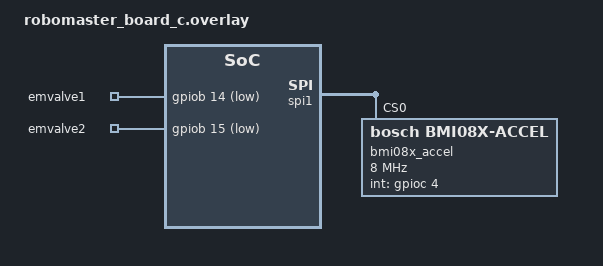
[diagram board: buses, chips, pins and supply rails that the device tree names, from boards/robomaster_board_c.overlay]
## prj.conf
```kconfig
# 启用线程分析器
CONFIG_THREAD_ANALYZER=y
CONFIG_THREAD_ANALYZER_USE_LOG=y
CONFIG_THREAD_ANALYZER_USE_PRINTK=n
CONFIG_THREAD_NAME=y
# CONFIG_THREAD_ANALYZER_AUTO=y
# CONFIG_THREAD_ANALYZER_AUTO_INTERVAL=5
CONFIG_THREAD_ANALYZER_LOG_LEVEL_INF=y
CONFIG_THREAD_ANALYZER_AUTO_SEPARATE_CORES=n

# 启用事件支持
CONFIG_EVENTS=y

# 禁用优化
CONFIG_NO_OPTIMIZATIONS=y
# CONFIG_COMPILER_OPT="-O3 -fno-strict-overflow -fno-common -ffunction-sections -fdata-sections -ffreestanding -fno-builtin"

# 启用驱动
CONFIG_MOTOR=y
CONFIG_MOTOR_COMMON=y
CONFIG_MOTOR_DJI=y
CONFIG_MOTOR_DM=y
CONFIG_MOTOR_LOG_LEVEL=4
CONFIG_CAN=y
CONFIG_MOTOR_INIT_PRIORITY=90

CONFIG_ARES=y
CONFIG_ARES_SBUS=y
CONFIG_EKF_LIB=y

CONFIG_AUTO_PROBE_GYRO_BIAS=y

CONFIG_CMSIS_DSP=y
CONFIG_CMSIS_DSP_MATRIX=y
CONFIG_CMSIS_DSP_CONTROLLER=y
CONFIG_CMSIS_DSP_FASTMATH=y

CONFIG_PLOTTER_FREQ=800
CONFIG_PLOTTER=y

#
# accel
#
CONFIG_SENSOR=y
CONFIG_BMI08X=y
CONFIG_BMI08X_ACCEL_TRIGGER_GLOBAL_THREAD=y
CONFIG_BMI08X_I2C_WRITE_BURST_SIZE=16
```

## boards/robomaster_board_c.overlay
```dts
/ {
	dm_motor {
		motor1: motor1 {
			compatible = "dji,motor";
			id = <1>;
			rx_id = <0x301>;
			tx_id = <0x3FE>;
			gear_ratio = "1.0";
			status = "okay";
			can_channel = <&can1>;
			controllers = <&jump_speed_pid>;
			capabilities = "speed";
			is_dm_motor;
			dm_i_max = "100";
			dm_torque_ratio = "-0.061538";
			follow = <&motor6>;
		};
		// motor2: motor2 {
		// 	compatible = "dji,motor";
		// 	id = <2>;
		// 	rx_id = <0x302>;
		// 	tx_id = <0x3FE>;
		// 	gear_ratio = "1.0";
		// 	status = "okay";
		// 	can_channel = <&can1>;
		// 	controllers = <>;
		// 	capabilities = "";
		// 	is_dm_motor;
		// 	dm_i_max = "100";
		// 	dm_torque_ratio = "-0.061538";
		// 	follow = <&motor6>;
		// };
		motor3: motor3 {
			compatible = "dji,motor";
			id = <3>;
			rx_id = <0x303>;
			tx_id = <0x3FE>;
			gear_ratio = "1.0";
			status = "okay";
			can_channel = <&can1>;
			is_dm_motor;
			dm_i_max = "100";
			dm_torque_ratio = "-0.061538";
			controllers = <>;
			capabilities = "";
			follow = <&motor6>;
		};


		motor4: motor4 {
			compatible = "dji,motor";
			id = <5>;
			rx_id = <0x305>;
			tx_id = <0x4FE>;
			gear_ratio = "1.0";
			status = "okay";
			can_channel = <&can2>;
			is_dm_motor;
			dm_i_max = "100";
			dm_torque_ratio = "0.061538";
			controllers = <>;
			capabilities = "";
			follow = <&motor6>;
		};
		// motor5: motor5 {
		// 	compatible = "dji,motor";
		// 	id = <6>;
		// 	rx_id = <0x306>;
		// 	tx_id = <0x4FE>;
		// 	gear_ratio = "1.0";
		// 	status = "okay";
		// 	can_channel = <&can2>;
		// 	is_dm_motor;
		// 	dm_i_max = "100";
		// 	dm_torque_ratio = "0.061538";
		// 	controllers = <>;
		// 	capabilities = "";
		// 	follow = <&motor6>;
		// };
		motor6: motor6 {
			compatible = "dji,motor";
			id = <7>;
			rx_id = <0x307>;
			tx_id = <0x4FE>;
			gear_ratio = "1.0";
			status = "okay";
			can_channel = <&can2>;
			is_dm_motor;
			dm_i_max = "100";
			dm_torque_ratio = "0.061538";
			controllers = <>;
			capabilities = "";
		};
	};

	pid {
		jump_speed_pid: jump_speed_pid {
			#controller-cells = <0>;
			compatible = "pid,single";
			k_p = "1.0";
			k_d = "0.0";
		};
	};
	emvalve {
		compatible = "gpio-keys";
		emvalve1: emvalve1 {
			gpios = <&gpiob 14 GPIO_ACTIVE_LOW>;//c板1口，推射
			label = "emvalve1";
		};
		emvalve2: emvalve2 {
			gpios = <&gpiob 15 GPIO_ACTIVE_LOW>;//c板3口，吸球
			label = "emvalve2";
		};
	};
	
	sbus0: sbus0 {
		compatible = "ares,sbus";
		status = "okay";
	};
};



&cdc_acm_uart0 {
	status = "disabled";
};

&spi1 {
    status = "okay";

    bmi08x_accel: bmi08x_accel@0 {
        compatible = "bosch,bmi08x-accel";
		status = "okay";
        reg = <0>;
        spi-max-frequency = <8000000>;
        int-gpios = <&gpioc 4 GPIO_ACTIVE_HIGH>;
        accel-hz = "1600";
        accel-fs = <12>;
		int1-map-io = <0>;
		int2-map-io = <0>;
        int1-conf-io = <0>;
		int2-conf-io = <0>;
		
    };
};
```

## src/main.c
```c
#include <math.h>
#include <stdbool.h>
#include <stddef.h>
#include <stdint.h>
#include <zephyr/device.h>
#include <zephyr/logging/log.h>
#include <zephyr/kernel.h>
#include <zephyr/drivers/motor.h>
#include <zephyr/drivers/sbus.h>
#include <ares/board/init.h>
#include <ares/ekf/imu_task.h>
#include <ares/usb_bulk_trans/usb_trans.h>
#include <ares/plotter/aresplot_uart.h>
#include <zephyr/drivers/sensor.h>
#include "devices.h"
#include <zephyr/debug/thread_analyzer.h>
#include <zephyr/drivers/gpio.h>


LOG_MODULE_REGISTER(main, LOG_LEVEL_DBG);

#define G 9.75965f

#define xipan_sbus 8
#define jump_sbus 11
#define lift_sbus 10

/* CAN Feedback to console*/
// void console_feedback(void *arg1, void *arg2, void *arg3)
// {
// 	while (1) {
// 		k_msleep(20);
// 	}
// }
// K_THREAD_DEFINE(feedback_thread, 4096, console_feedback, NULL, NULL, NULL, -1, 0, 100);



#define RPM_TO_DEG_PER_SEC (6.0f) // 1 RPM = 6 degrees/second
#define SPRING_KP (0.1f)          // 比例增益 (弹簧刚度)
#define SPRING_KD (0.01f)          // 微分增益 (阻尼系数)
#define SPRING_REST_ANGLE (3.0f) // 弹簧静止位置
#define SPRING_MAX_TORQUE (5.0f)  // 最大输出力矩
#define SPRING_MIN_TORQUE (-1.0f) // 最小输出力矩
#define TOP_ANGLE (66.0f) // 着陆检测阈值
#define DAMPING_DURATION_MS (1500) // 缓冲持续时间 (毫秒)
#define JUMP_TORQUE (3.5f) // 起跳力矩
#define LIFT_TORQUE (-1.0f) // 抬升力矩

float angle1, angle3, angle4, angle6;
float speed1, speed3, speed4, speed6;
float torque1, torque3, torque4, torque6;

bool damper_finished = false;

K_MUTEX_DEFINE(valve_mutex);

// 添加跳跃优先标志
static bool jump_priority_request = false;

// 全局状态变量
typedef struct {
    bool landing_detected;
    uint32_t landing_start_time;
    bool is_active;
    float previous_error;
    float previous_angle;
} jump_control_state_t;

static jump_control_state_t jump_state = {0};

// PD控制器状态
typedef struct {
    float previous_error;
    float previous_angle;
    bool is_active;
    uint32_t last_update_time;
} spring_damper_t;

static spring_damper_t spring_controller = {0};

void reset_jump_state(void)
{
    jump_state.landing_detected = false;
    jump_state.landing_start_time = 0;
    jump_state.is_active = false;
    jump_state.previous_error = 0.0f;
    jump_state.previous_angle = 0.0f;

	spring_controller.is_active = false;
    spring_controller.previous_error = 0.0f;
    spring_controller.previous_angle = 0.0f;
    spring_controller.last_update_time = 0;

	damper_finished = false;

	LOG_INF("Jump state reset");
}

// PD弹簧阻尼控制函数
float calculate_spring_torque(float current_angle, float current_velocity)
{
    // 计算位置误差 (相对于静止位置)
    // float position_error = SPRING_REST_ANGLE - current_angle;
    
    // 计算速度误差 (期望速度为0，实现阻尼)
    float velocity_error = 0.0f - current_velocity;
    
    
    // PD控制器输出
    // float spring_force = SPRING_KP * position_error;  // 比例项 (弹簧恢复力)
    float damping_force = SPRING_KD * velocity_error; // 微分项 (阻尼力)
    
    float total_torque = damping_force;

    LOG_ERR("total_torque: %f", (double)total_torque);
    
    // 限制输出力矩范围
    if (total_torque > SPRING_MAX_TORQUE) {
        total_torque = SPRING_MAX_TORQUE;
    } else if (total_torque < SPRING_MIN_TORQUE) {
        total_torque = SPRING_MIN_TORQUE;
    }
    
    return total_torque;
}

// 缓冲落地函数
void spring_damper_landing(float current_angle, float current_velocity)
{

    // 检测着陆
    if (current_angle <= TOP_ANGLE && !jump_state.landing_detected && 
         current_velocity < 0.0f) {
        jump_state.landing_detected = true;
        jump_state.landing_start_time = k_uptime_get_32();
		jump_state.is_active = true;
        spring_controller.is_active = true;
        spring_controller.previous_error = 0.0f;
        spring_controller.previous_angle = current_angle;
        
        LOG_INF("Landing detected! Starting spring damper control");

    }
    
    // 执行PD控制
    if (spring_controller.is_active) {
        uint32_t current_time = k_uptime_get_32();
        uint32_t elapsed_time = current_time - jump_state.landing_start_time;
        
        if (elapsed_time < DAMPING_DURATION_MS) {
            // 计算PD控制输出
            float control_torque = calculate_spring_torque(current_angle, current_velocity);
            LOG_INF("1");
            // 应用渐变衰减 (模拟能量耗散)
            float decay_factor = 1.0f - ((float)elapsed_time / DAMPING_DURATION_MS);
            if(decay_factor < 0.3f) decay_factor = 0.3f;
            control_torque *= decay_factor;
            
            // 设置电机力矩
            motor_set_torque(motor6, control_torque);
            
         
        } else {
            // 缓冲完成，停止控制
            motor_set_torque(motor6, 0.0f);
            spring_controller.is_active = false;
            jump_state.landing_detected = false;
            damper_finished = true;
            LOG_INF("Spring damper control completed");
        }
    }
}


bool sbus_get_bool(const struct device *sbus, int channel)
{
	sbus_get_digit(sbus, channel);
	return (double)sbus_get_percent(sbus, channel) > 0.5;
}

// 电磁阀控制线程
void valve_control_thread(void)
{    
    while(1) 
    {
        //检查是否有跳跃优先请求
        if (!jump_priority_request && k_mutex_lock(&valve_mutex, K_NO_WAIT) == 0) {
            float valve_percent = sbus_get_percent(sbus, xipan_sbus);
            // LOG_INF("sccessfully get valve mutex");
            if (valve_percent < -0.1f) {
                //吸球
                gpio_pin_set_dt(&emvalve1, false);
                gpio_pin_set_dt(&emvalve2, true);
            }
            else {
                //放球
                gpio_pin_set_dt(&emvalve1, false);
                gpio_pin_set_dt(&emvalve2, false);
            }
            
            k_mutex_unlock(&valve_mutex);
        }
        //如果有跳跃请求，主动避让
        else if (jump_priority_request) {
            k_msleep(2000);  // 让出更多时间给jump()
        }
        
        k_msleep(2);
    }
}

// 创建电磁阀线程
K_THREAD_DEFINE(valve_thread, 1024, valve_control_thread, NULL, NULL, NULL, 7, 0, 100);

void lift(void)
{
	motor_set_torque(motor6, LIFT_TORQUE);
}

void jump(void)
{
	reset_jump_state(); // 重置跳跃状态

	jump_priority_request = true;
    k_msleep(10);  // 短暂等待valve线程释放
    k_mutex_lock(&valve_mutex, K_FOREVER);  // 强制获取互斥锁
    LOG_INF("successfully get valve mutex for jump");

	while(1)
	{
		if(device_is_ready(motor1) && device_is_ready(motor3) && 
		   device_is_ready(motor4) && device_is_ready(motor6))
		{
			break;
		}
		else {
			LOG_ERR("Motor device not ready");
		}
		k_msleep(200);
	}
	motor_set_torque(motor6, JUMP_TORQUE); // 起跳力矩
	// motor_set_torque(motor6, 0); // 测试力矩
    

    while(1)
    {
        if(fabsf((motor_get_sum_angle(motor6))) > (TOP_ANGLE-30.0f))
        {
            
                LOG_INF("Jump acquired valve control");
                
                gpio_pin_set_dt(&emvalve1, true);  // 推球
                k_msleep(150);
                gpio_pin_set_dt(&emvalve2, false); // 不吸球
                
                LOG_INF("Jump valve control completed");
                
                k_mutex_unlock(&valve_mutex);
          
            break;
        }
        k_msleep(2);
    }
	
	while(1)
	{

		if(fabsf((motor_get_sum_angle(motor6))) > TOP_ANGLE)
		{
			motor_set_torque(motor6, 0.0f);
			break;
		}
		k_msleep(1);
	}


    //清除优先标志
    jump_priority_request = false;


	
	while(1)
	{

		angle6 = motor_get_sum_angle(motor6);

  		float speed_rpm = motor_get_speed(motor6);
  
  		float current_velocity_dps = speed_rpm * RPM_TO_DEG_PER_SEC;
        // LOG_INF("landing is ready");
  		spring_damper_landing(angle6, current_velocity_dps);

		if(damper_finished) {
			LOG_INF("Damper finished, exiting jump loop");
			break;
		}

		k_msleep(1);
	}
}



int main(void)
{
	k_msleep(1000);

    k_thread_priority_set(k_current_get(), 1);

    gpio_pin_configure_dt(&emvalve1, GPIO_OUTPUT_ACTIVE);
    gpio_pin_configure_dt(&emvalve2, GPIO_OUTPUT_ACTIVE);

	motor_set_mode(motor1, MIT);
    k_sleep(K_MSEC(1));
    // motor_set_mode(motor2, MIT);
    // k_sleep(K_MSEC(1));
	motor_set_mode(motor3, MIT);
    k_sleep(K_MSEC(1));
    motor_set_mode(motor4, MIT);
    k_sleep(K_MSEC(1));
	// motor_set_mode(motor5, MIT);
    // k_sleep(K_MSEC(1));
    motor_set_mode(motor6, MIT);
    k_sleep(K_MSEC(1));

	motor_control(motor1, SET_ZERO);
	k_sleep(K_MSEC(1));
	// motor_control(motor2, SET_ZERO);
	// k_sleep(K_MSEC(1));
	motor_control(motor3, SET_ZERO);
	k_sleep(K_MSEC(1));
	motor_control(motor4, SET_ZERO);
	k_sleep(K_MSEC(1));
	// motor_control(motor5, SET_ZERO);
	// k_sleep(K_MSEC(1));
	motor_control(motor6, SET_ZERO);

	k_msleep(200);



while (1) {

        if(sbus_get_percent(sbus, jump_sbus) > 0.0f && 
           sbus_get_percent(sbus, lift_sbus) < 0.1f)
        {
            jump();
        }

        if(sbus_get_percent(sbus, lift_sbus) > 0.1f)
        {
            lift();
        }
        else{
            motor_set_torque(motor6, 0.0f);
        }


		angle1 = motor_get_sum_angle(motor1);angle3 = motor_get_sum_angle(motor3);angle4 = motor_get_sum_angle(motor4);angle6 = motor_get_sum_angle(motor6);
		speed1 = motor_get_speed(motor1);speed3 = motor_get_speed(motor3);speed4 = motor_get_speed(motor4);speed6 = motor_get_speed(motor6);
		torque1 = motor_get_torque(motor1);torque3 = motor_get_torque(motor3);torque4 = motor_get_torque(motor4);torque6 = motor_get_torque(motor6);
		
		LOG_INF("angle1: %.2f, angle3: %.2f, angle4: %.2f, angle6: %.2f",
			(double)angle1, (double)angle3, (double)angle4, (double)angle6);
		LOG_INF("speed1: %.2f, speed3: %.2f, speed4: %.2f, speed6: %.2f",
			(double)speed1, (double)speed3, (double)speed4, (double)speed6);
		LOG_INF("torque1: %.2f, torque3: %.2f, torque4: %.2f, torque6: %.2f",
			(double)torque1, (double)torque3, (double)torque4, (double)torque6);

		k_msleep(25);
		
	}
}
```

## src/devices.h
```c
#include <zephyr/device.h>
#include <zephyr/drivers/gpio.h>

#define MOTOR1_NODE DT_NODELABEL(motor1)
// #define MOTOR2_NODE DT_NODELABEL(motor2)
#define MOTOR3_NODE DT_NODELABEL(motor3)
#define MOTOR4_NODE DT_NODELABEL(motor4)
// #define MOTOR5_NODE DT_NODELABEL(motor5)
#define MOTOR6_NODE DT_NODELABEL(motor6)
#define IMU_ACCEL_NODE DT_NODELABEL(bmi08x_accel)
#define SBUS_NODE DT_NODELABEL(sbus0)
#define EMValve1 DT_NODELABEL(emvalve1)
#define EMValve2 DT_NODELABEL(emvalve2)

const struct device *motor1 = DEVICE_DT_GET(MOTOR1_NODE);
// const struct device *motor2 = DEVICE_DT_GET(MOTOR2_NODE);
const struct device *motor3 = DEVICE_DT_GET(MOTOR3_NODE);
const struct device *motor4 = DEVICE_DT_GET(MOTOR4_NODE);
// const struct device *motor5 = DEVICE_DT_GET(MOTOR5_NODE);
const struct device *motor6 = DEVICE_DT_GET(MOTOR6_NODE);
const struct device *accel = DEVICE_DT_GET(IMU_ACCEL_NODE);

#define BUTTON1_NODE DT_NODELABEL(pwm_button1)
#define BUTTON2_NODE DT_NODELABEL(pwm_button2)
const struct gpio_dt_spec button1 = GPIO_DT_SPEC_GET_OR(BUTTON1_NODE, gpios, {0});
const struct gpio_dt_spec button2 = GPIO_DT_SPEC_GET_OR(BUTTON2_NODE, gpios, {0});


const struct device *sbus = DEVICE_DT_GET(SBUS_NODE);
const struct gpio_dt_spec emvalve1 = GPIO_DT_SPEC_GET_BY_IDX(EMValve1, gpios, 0);
const struct gpio_dt_spec emvalve2 = GPIO_DT_SPEC_GET_BY_IDX(EMValve2, gpios, 0);

// extern const struct device *sbus;
// extern const struct gpio_dt_spec emvalve1;
// extern const struct gpio_dt_spec emvalve2;
```
